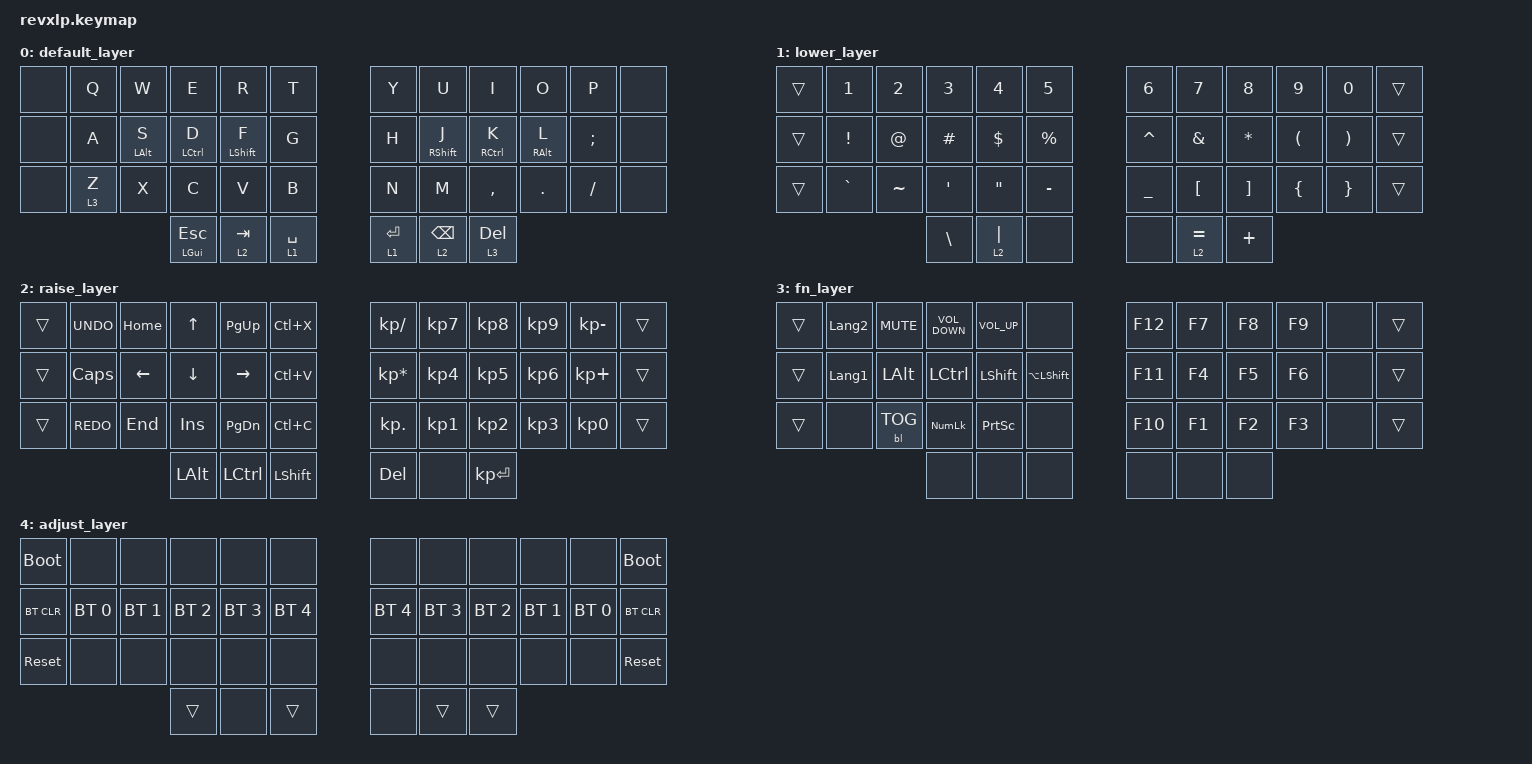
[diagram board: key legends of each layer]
/*
 * Copyright (c) 2020 The ZMK Contributors
 *
 * SPDX-License-Identifier: MIT
 */

#include <behaviors.dtsi>
#include <dt-bindings/zmk/backlight.h>
#include <dt-bindings/zmk/bt.h>
#include <dt-bindings/zmk/keys.h>

#define NAV_L 1
#define NUM_L 2
#define MED_L 3
#define FUN_L 4

&lt { quick-tap-ms = <50>; };

&mt {
    quick-tap-ms = <200>;
    require-prior-idle-ms = <100>;
    flavor = "tap-preferred";
};

/ {
    tap_dances {
        shifty: shift_caps_word {
            compatible = "zmk,behavior-tap-dance";
            #binding-cells = <0>;
            tapping-term-ms = <150>;
            bindings = <&kp LSHFT>, <&caps_word>;
        };
    };

    cond_layers {
        compatible = "zmk,conditional-layers";

        tri-layer {
            if-layers = <1 2>;
            then-layer = <4>;
        };
    };

    combos {
        compatible = "zmk,combos";

        grave {
            bindings = <&kp GRAVE>;
            key-positions = <1 2>;
            layers = <0>;
        };

        quote {
            bindings = <&kp SINGLE_QUOTE>;
            key-positions = <7 8>;
            layers = <0>;
        };

        left-square-bracket {
            bindings = <&kp LEFT_BRACKET>;
            key-positions = <8 9>;
        };

        right-square-bracket {
            bindings = <&kp RIGHT_BRACKET>;
            key-positions = <9 10>;
        };
    };

    behaviors {
    };

    keymap {
        compatible = "zmk,keymap";

        default_layer {
            bindings = <
&none  &kp Q    &kp W       &kp E         &kp R         &kp T        &kp Y        &kp U        &kp I        &kp O       &kp P     &none
&none  &kp A    &mt LALT S  &mt LCTRL D   &mt LSHIFT F  &kp G        &kp H        &mt RSHFT J  &mt RCTRL K  &mt RALT L  &kp SEMI  &none
&none  &lt 3 Z  &kp X       &kp C         &kp V         &kp B        &kp N        &kp M        &kp COMMA    &kp DOT     &kp FSLH  &none
                            &mt LGUI ESC  &lt 2 TAB     &lt 1 SPACE  &lt 1 ENTER  &lt 2 BSPC   &lt 3 DEL
            >;
        };

        lower_layer {
            bindings = <
&trans  &kp N1     &kp N2     &kp N3    &kp N4             &kp N5     &kp N6          &kp N7       &kp N8    &kp N9          &kp N0           &trans
&trans  &kp EXCL   &kp AT     &kp HASH  &kp DLLR           &kp PRCNT  &kp CARET       &kp AMPS     &kp STAR  &kp LPAR        &kp RPAR         &trans
&trans  &kp GRAVE  &kp TILDE  &kp SQT   &kp DOUBLE_QUOTES  &kp MINUS  &kp UNDERSCORE  &kp LBKT     &kp RBKT  &kp LEFT_BRACE  &kp RIGHT_BRACE  &trans
                              &kp BSLH  &lt 2 PIPE         &none      &none           &lt 2 EQUAL  &kp PLUS
            >;
        };

        raise_layer {
            bindings = <
&trans  &kp K_UNDO  &kp HOME  &kp UP    &kp PG_UP  &kp LC(X)   &kp KP_SLASH     &kp KP_N7  &kp KP_N8     &kp KP_N9  &kp KP_MINUS  &trans
&trans  &kp CAPS    &kp LEFT  &kp DOWN  &kp RIGHT  &kp LC(V)   &kp KP_MULTIPLY  &kp KP_N4  &kp KP_N5     &kp KP_N6  &kp KP_PLUS   &trans
&trans  &kp K_REDO  &kp END   &kp INS   &kp PG_DN  &kp LC(C)   &kp KP_DOT       &kp KP_N1  &kp KP_N2     &kp KP_N3  &kp KP_N0     &trans
                              &kp LALT  &kp LCTRL  &kp LSHIFT  &kp DEL          &none      &kp KP_ENTER
            >;
        };

        fn_layer {
            bindings = <
&trans  &kp LANGUAGE_2  &kp K_MUTE  &kp C_VOLUME_DOWN  &kp C_VOLUME_UP  &none           &kp F12  &kp F7  &kp F8  &kp F9  &none  &trans
&trans  &kp LANGUAGE_1  &kp LALT    &kp LCTRL          &kp LSHIFT       &kp LA(LSHIFT)  &kp F11  &kp F4  &kp F5  &kp F6  &none  &trans
&trans  &none           &bl BL_TOG  &kp KP_NUMLOCK     &kp PRINTSCREEN  &none           &kp F10  &kp F1  &kp F2  &kp F3  &none  &trans
                                    &none              &none            &none           &none    &none   &none
            >;
        };

        adjust_layer {
            bindings = <
&bootloader  &none         &none         &none         &none         &none         &none         &none         &none         &none         &none         &bootloader
&bt BT_CLR   &bt BT_SEL 0  &bt BT_SEL 1  &bt BT_SEL 2  &bt BT_SEL 3  &bt BT_SEL 4  &bt BT_SEL 4  &bt BT_SEL 3  &bt BT_SEL 2  &bt BT_SEL 1  &bt BT_SEL 0  &bt BT_CLR
&sys_reset   &none         &none         &none         &none         &none         &none         &none         &none         &none         &none         &sys_reset
                                         &trans        &none         &trans        &none         &trans        &trans
            >;
        };
    };
};
